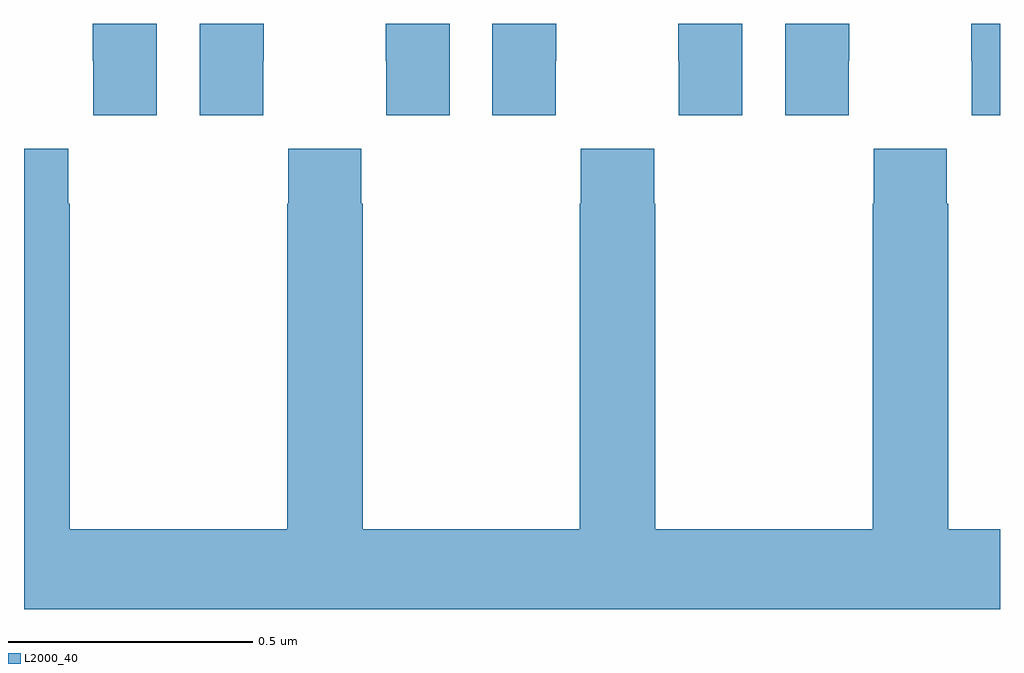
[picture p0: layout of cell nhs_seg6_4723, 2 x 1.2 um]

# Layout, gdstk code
import gdstk
lib = gdstk.Library(unit=1e-6, precision=1e-09)
def P(c, l, *ps):  # polygons
    for p in ps: c.add(gdstk.Polygon(p, *l))
L2000_40 = (2000, 40)

nhs_seg6_4723 = lib.new_cell('nhs_seg6_4723')
P(nhs_seg6_4723, L2000_40, [(175,984.5),(174.941,984.5),(174.941,984.424),(174.942,984.424),(174.942,984.312),(175,984.312)],
  [(173.272,984.5),(173.141,984.5),(173.141,984.424),(173.142,984.424),(173.142,984.312),(173.272,984.312)],
  [(173.49,984.424),(173.491,984.424),(173.491,984.5),(173.36,984.5),(173.36,984.312),(173.49,984.312)],
  [(173.872,984.5),(173.741,984.5),(173.741,984.424),(173.742,984.424),(173.742,984.312),(173.872,984.312)],
  [(174.09,984.424),(174.091,984.424),(174.091,984.5),(173.96,984.5),(173.96,984.312),(174.09,984.312)],
  [(174.472,984.5),(174.341,984.5),(174.341,984.424),(174.342,984.424),(174.342,984.312),(174.472,984.312)],
  [(174.69,984.424),(174.691,984.424),(174.691,984.5),(174.56,984.5),(174.56,984.312),(174.69,984.312)],
  [(175,983.464),(174.894,983.464),(174.894,984.131),(174.891,984.131),(174.891,984.244),(174.741,984.244),(174.741,984.131),(174.739,984.131),(174.739,983.464),(174.294,983.464),(174.294,984.131),(174.291,984.131),(174.291,984.244),(174.141,984.244),(174.141,984.131),(174.139,984.131),(174.139,983.464),(173.694,983.464),(173.694,984.131),(173.691,984.131),(173.691,984.244),(173.541,984.244),(173.541,984.131),(173.539,984.131),(173.539,983.464),(173.094,983.464),(173.094,984.131),(173.091,984.131),(173.091,984.244),(173,984.244),(173,983.3),(175,983.3)])

lib.write_gds('nhs_seg6_4723.gds')
